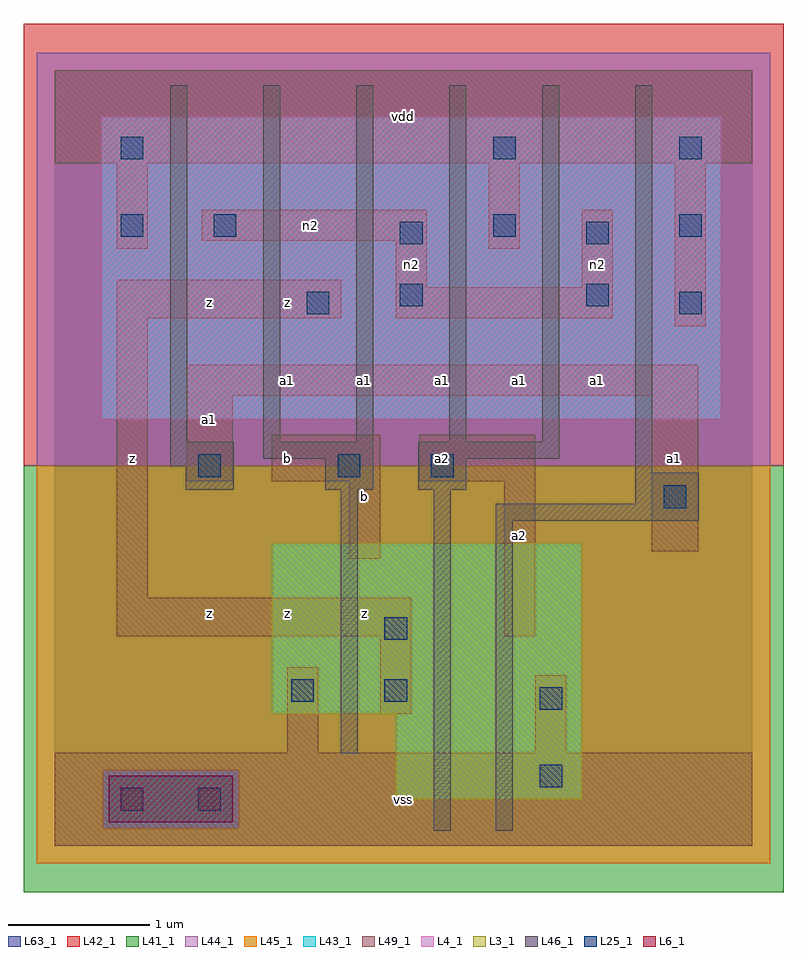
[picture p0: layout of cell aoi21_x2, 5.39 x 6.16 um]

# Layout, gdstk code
import gdstk
lib = gdstk.Library(unit=1e-6, precision=1e-09)
def R(c, l, rs):  # rectangles x0, y0, x1, y1
    for r in rs: c.add(gdstk.rectangle(r[:2], r[2:], *l))
def A(c, l, x, y, w, h, nx, ny, dx, dy):  # array of equal rectangles
    R(c, l, [(x+i*dx, y+j*dy, x+i*dx+w, y+j*dy+h) for i in range(nx) for j in range(ny)])
L3_1 = (3, 1)
L4_1 = (4, 1)
L6_1 = (6, 1)
L25_1 = (25, 1)
L41_1 = (41, 1)
L42_1 = (42, 1)
L43_1 = (43, 1)
L44_1 = (44, 1)
L45_1 = (45, 1)
L46_1 = (46, 1)
L49_1 = (49, 1)
L63_1 = (63, 1)

aoi21_x2 = lib.new_cell('aoi21_x2')
R(aoi21_x2, L3_1, [(2.42,0.33,3.74,0.935), (1.54,0.935,3.74,2.145)])
R(aoi21_x2, L4_1, [(0.33,3.025,4.73,5.17)])
R(aoi21_x2, L6_1, [(0.385,0.165,1.265,0.495)])
A(aoi21_x2, L25_1, 4.43, 3.77, 0.16, 0.16, 1, 3, 0, 0.55)
R(aoi21_x2, L25_1, [(0.47,0.25,0.63,0.41), (1.02,0.25,1.18,0.41), (3.44,0.415,3.6,0.575), (3.44,0.965,3.6,1.125), (1.68,1.02,1.84,1.18), (2.34,1.02,2.5,1.18), (2.34,1.46,2.5,1.62), (4.32,2.395,4.48,2.555), (1.02,2.615,1.18,2.775), (2.01,2.615,2.17,2.775), (2.67,2.615,2.83,2.775), (1.79,3.77,1.95,3.93), (2.45,3.825,2.61,3.985), (3.77,3.825,3.93,3.985), (2.45,4.265,2.61,4.425), (3.77,4.265,3.93,4.425), (0.47,4.32,0.63,4.48), (1.13,4.32,1.29,4.48), (3.11,4.32,3.27,4.48), (0.47,4.87,0.63,5.03), (3.11,4.87,3.27,5.03)])
R(aoi21_x2, L41_1, [(-0.22,-0.33,5.17,2.695)])
R(aoi21_x2, L42_1, [(-0.22,2.695,5.17,5.83)])
R(aoi21_x2, L43_1, [(0.385,0.165,1.265,0.495), (2.42,0.33,3.74,0.935), (1.54,0.935,3.74,2.145), (0.33,3.025,4.73,5.17)])
R(aoi21_x2, L44_1, [(0.345,0.125,1.305,0.535), (-0.125,2.695,5.075,5.625)])
R(aoi21_x2, L45_1, [(-0.125,-0.125,5.075,0.125), (-0.125,0.125,0.345,0.535), (1.305,0.125,5.075,0.535), (-0.125,0.535,5.075,2.695)])
A(aoi21_x2, L46_1, 0.82, 2.865, 0.12, 2.53, 5, 1, 0.66, 0)
R(aoi21_x2, L46_1, [(2.69,0.105,2.81,2.525), (3.13,0.105,3.25,2.305), (2.03,0.655,2.15,2.525), (3.13,2.305,4.57,2.425), (4.12,2.425,4.57,2.645), (0.93,2.525,1.27,2.69), (1.92,2.525,2.26,2.745), (2.58,2.525,2.92,2.745), (4.12,2.645,4.24,5.395), (0.82,2.69,1.27,2.865), (1.48,2.745,2.26,2.865), (2.58,2.745,3.58,2.865)])
R(aoi21_x2, L49_1, [(0,0,4.95,0.66), (1.65,0.66,1.87,1.265), (3.41,0.66,3.63,1.21), (2.31,0.935,2.53,1.485), (0.44,1.485,2.53,1.76), (3.19,1.485,3.41,2.585), (0.44,1.76,0.66,3.74), (2.09,2.035,2.31,2.585), (4.235,2.09,4.565,3.19), (0.935,2.585,1.265,3.19), (1.54,2.585,2.31,2.915), (2.585,2.585,3.41,2.915), (0.935,3.19,4.565,3.41), (4.4,3.685,4.62,4.84), (0.44,3.74,2.035,4.015), (2.42,3.74,3.96,3.96), (2.42,3.96,2.64,4.29), (3.74,3.96,3.96,4.51), (0.44,4.235,0.66,4.84), (3.08,4.235,3.3,4.84), (1.045,4.29,2.64,4.51), (0,4.84,4.95,5.5)])
R(aoi21_x2, L63_1, [(0,0,4.95,5.5)])
aoi21_x2.add(gdstk.Label('z', (0.55,2.75), layer=49, texttype=1))
aoi21_x2.add(gdstk.Label('z', (0.55,2.75), layer=49, texttype=1))
aoi21_x2.add(gdstk.Label('z', (1.1,1.65), layer=49, texttype=1))
aoi21_x2.add(gdstk.Label('z', (1.1,1.65), layer=49, texttype=1))
aoi21_x2.add(gdstk.Label('z', (1.65,1.65), layer=49, texttype=1))
aoi21_x2.add(gdstk.Label('z', (1.65,1.65), layer=49, texttype=1))
aoi21_x2.add(gdstk.Label('a1', (1.1,3.025), layer=49, texttype=1))
aoi21_x2.add(gdstk.Label('a1', (1.1,3.025), layer=49, texttype=1))
aoi21_x2.add(gdstk.Label('b', (1.65,2.75), layer=49, texttype=1))
aoi21_x2.add(gdstk.Label('b', (1.65,2.75), layer=49, texttype=1))
aoi21_x2.add(gdstk.Label('a1', (1.65,3.3), layer=49, texttype=1))
aoi21_x2.add(gdstk.Label('a1', (1.65,3.3), layer=49, texttype=1))
aoi21_x2.add(gdstk.Label('z', (1.1,3.85), layer=49, texttype=1))
aoi21_x2.add(gdstk.Label('z', (1.1,3.85), layer=49, texttype=1))
aoi21_x2.add(gdstk.Label('z', (1.65,3.85), layer=49, texttype=1))
aoi21_x2.add(gdstk.Label('z', (1.65,3.85), layer=49, texttype=1))
aoi21_x2.add(gdstk.Label('vss', (2.475,0.33), layer=49, texttype=1))
aoi21_x2.add(gdstk.Label('vss', (2.475,0.33), layer=49, texttype=1))
aoi21_x2.add(gdstk.Label('z', (2.2,1.65), layer=49, texttype=1))
aoi21_x2.add(gdstk.Label('z', (2.2,1.65), layer=49, texttype=1))
aoi21_x2.add(gdstk.Label('b', (2.2,2.475), layer=49, texttype=1))
aoi21_x2.add(gdstk.Label('a2', (2.75,2.75), layer=49, texttype=1))
aoi21_x2.add(gdstk.Label('a2', (2.75,2.75), layer=49, texttype=1))
aoi21_x2.add(gdstk.Label('b', (2.2,2.475), layer=49, texttype=1))
aoi21_x2.add(gdstk.Label('a1', (2.2,3.3), layer=49, texttype=1))
aoi21_x2.add(gdstk.Label('a1', (2.75,3.3), layer=49, texttype=1))
aoi21_x2.add(gdstk.Label('a1', (2.75,3.3), layer=49, texttype=1))
aoi21_x2.add(gdstk.Label('a1', (2.2,3.3), layer=49, texttype=1))
aoi21_x2.add(gdstk.Label('n2', (2.53,4.125), layer=49, texttype=1))
aoi21_x2.add(gdstk.Label('n2', (1.815,4.4), layer=49, texttype=1))
aoi21_x2.add(gdstk.Label('vdd', (2.475,5.17), layer=49, texttype=1))
aoi21_x2.add(gdstk.Label('vdd', (2.475,5.17), layer=49, texttype=1))
aoi21_x2.add(gdstk.Label('a2', (3.3,2.2), layer=49, texttype=1))
aoi21_x2.add(gdstk.Label('a2', (3.3,2.2), layer=49, texttype=1))
aoi21_x2.add(gdstk.Label('a1', (3.3,3.3), layer=49, texttype=1))
aoi21_x2.add(gdstk.Label('a1', (3.85,3.3), layer=49, texttype=1))
aoi21_x2.add(gdstk.Label('a1', (3.3,3.3), layer=49, texttype=1))
aoi21_x2.add(gdstk.Label('a1', (3.85,3.3), layer=49, texttype=1))
aoi21_x2.add(gdstk.Label('n2', (3.85,4.125), layer=49, texttype=1))
aoi21_x2.add(gdstk.Label('a1', (4.4,2.75), layer=49, texttype=1))
aoi21_x2.add(gdstk.Label('a1', (4.4,2.75), layer=49, texttype=1))

lib.write_gds('aoi21_x2.gds')
